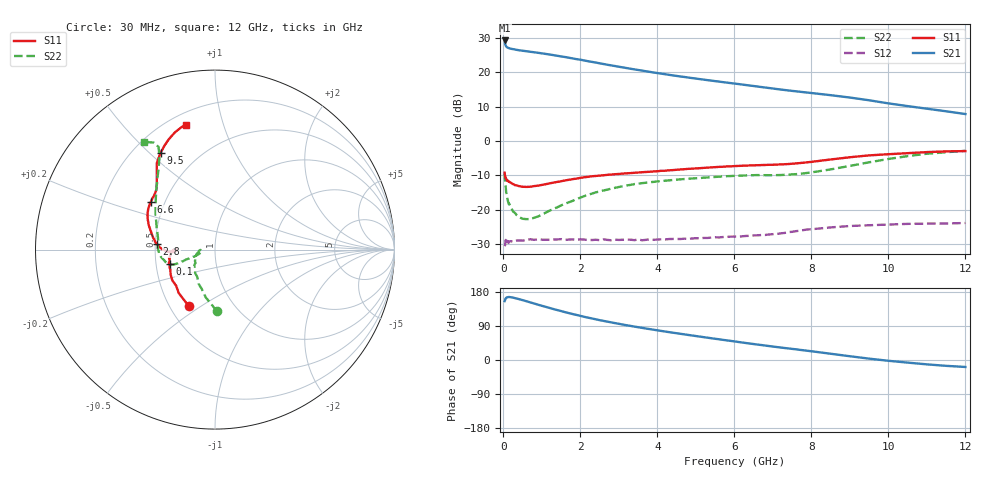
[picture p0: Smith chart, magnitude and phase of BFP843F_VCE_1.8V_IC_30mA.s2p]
! Infineon Technologies  Discrete & RF Semiconductors
! BFP843F
! VCE =  1.8 V,  IC =  30 mA
! Common Emitter S-Parameters:  Aug 2013
# GHz  S  MA  R  50
!  f  S11  S21  S12  S22
! GHz  MAG  ANG  MAG  ANG  MAG  ANG  MAG  ANG
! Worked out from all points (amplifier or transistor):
!   103 points, 30 MHz to 12 GHz, reference 50 ohm
!   highest |S21| = 29.2 dB at 30 MHz (marker M1)
!   |S21| within 3 dB of that: start of sweep to 508.8 MHz
!   unconditionally stable (mu >= 1): 122.2 MHz to end of sweep
!   at 400 MHz: K = 1.02, MAG = 26.7 dB, |S12| = -28.9 dB
!   at 3.7 GHz: K = 1.27, MAG = 21.4 dB, |S12| = -28.7 dB
!   at 12 GHz: K = 1.18, MAG = 13.3 dB, |S12| = -23.8 dB
!   S11 on the Smith chart (normalised r, x): 30 MHz: 0.62, -0.45; 100 MHz: 0.59, -0.10; 2.8 GHz: 0.51, +0.03; 6.6 GHz: 0.42, +0.28; 9.5 GHz: 0.31, +0.54; 12 GHz: 0.27, +0.76
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0.03  0.3471 -114.9  28.86 155.3  0.0297 23.7  0.3437 -88.1
0.04  0.3155 -129.8  26.38 157.5  0.0305 20.6  0.271 -101.0
0.05  0.2953 -137.2  24.92 161.1  0.033 22.7  0.2353 -107.6
0.07  0.2834 -150.8  23.63 163.8  0.0332 16.4  0.181 -123.2
0.1  0.264 -162.6  22.84 165.6  0.0354 11.3  0.1466 -141.7
0.13  0.2593 -167.3  22.44 166.2  0.0331 8.0  0.1283 -150.6
0.2  0.2461 -175.8  21.83 165.6  0.0351 7.7  0.1068 -165.7
0.9  0.2248 -177.6  19.1 145.9  0.0374 4.6  0.0802 -168.3
1.2  0.2425 -176.7  18.05 137.3  0.0368 4.1  0.0975 -163.8
1.6  0.2676 -178.2  16.58 126.3  0.0366 4.2  0.123 -161.2
2.1  0.2975 179.1  14.77 113.9  0.037 5.2  0.1581 -161.1
2.5  0.3146 176.3  13.43 105.1  0.0363 6.1  0.1846 -160.3
2.8  0.3259 174.8  12.53 99.3  0.0362 6.7  0.2033 -159.7
3.4  0.3454 170.1  10.97 88.2  0.0363 9.5  0.2367 -160.0
4.1  0.3691 165.0  9.518 76.7  0.0374 13.1  0.2617 -161.8
5  0.4 158.2  8.071 63.2  0.0388 16.8  0.288 -167.4
6.1  0.4345 149.0  6.722 47.6  0.0408 21.1  0.3133 -177.4
6.6  0.4448 143.6  6.182 40.7  0.0427 22.4  0.3201 177.2
8.5  0.5391 127.0  4.63 16.5  0.0556 25.0  0.3869 148.8
9.5  0.6185 119.4  3.905 3.6  0.0598 21.2  0.4908 131.4
10.5  0.6659 112.8  3.213 -6.9  0.0626 18.4  0.6035 120.8
12  0.7139 103.1  2.464 -18.4  0.0645 18.4  0.7199 123.5
